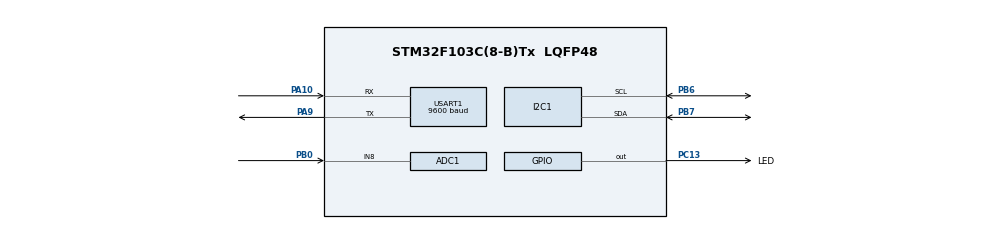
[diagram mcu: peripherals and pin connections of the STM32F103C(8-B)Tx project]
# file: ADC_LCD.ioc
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ADC1.Channel-0\#ChannelRegularConversion=ADC_CHANNEL_8
ADC1.NbrOfConversionFlag=1
ADC1.Rank-0\#ChannelRegularConversion=1
ADC1.SamplingTime-0\#ChannelRegularConversion=ADC_SAMPLETIME_1CYCLE_5
ADC1.master=1
Mcu.Family=STM32F1
Mcu.Name=STM32F103C(8-B)Tx
Mcu.Package=LQFP48
NVIC.PriorityGroup=NVIC_PRIORITYGROUP_4
PA10.Mode=Asynchronous
PA10.Signal=USART1_RX
PA9.Mode=Asynchronous
PA9.Signal=USART1_TX
PB0.Signal=ADCx_IN8
PB6.Mode=I2C
PB6.Signal=I2C1_SCL
PB7.Mode=I2C
PB7.Signal=I2C1_SDA
PC13-TAMPER-RTC.GPIO_Label=LED
PC13-TAMPER-RTC.Signal=GPIO_Output
PD0-OSC_IN.Mode=HSE-External-Oscillator
PD0-OSC_IN.Signal=RCC_OSC_IN
PD1-OSC_OUT.Mode=HSE-External-Oscillator
PD1-OSC_OUT.Signal=RCC_OSC_OUT
ProjectManager.HeapSize=0x200
ProjectManager.StackSize=0x400
ProjectManager.TargetToolchain=STM32CubeIDE
RCC.APB1Freq_Value=8000000
RCC.APB2Freq_Value=8000000
RCC.SYSCLKSource=RCC_SYSCLKSOURCE_HSE
SH.ADCx_IN8.0=ADC1_IN8,IN8
USART1.BaudRate=9600
USART1.VirtualMode=VM_ASYNC
board=custom

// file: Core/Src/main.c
/* USER CODE BEGIN Header */
/**
  ******************************************************************************
  * @file           : main.c
  * @brief          : Main program body
  ******************************************************************************
  * @attention
  *
  * Copyright (c) 2022 STMicroelectronics.
  * All rights reserved.
  *
  * This software is licensed under terms that can be found in the LICENSE file
  * in the root directory of this software component.
  * If no LICENSE file comes with this software, it is provided AS-IS.
  *
  ******************************************************************************
  */
/* USER CODE END Header */
#include "main.h"

/* USER CODE BEGIN Includes */
#include <stdio.h>
/* USER CODE END Includes */

ADC_HandleTypeDef hadc1;

I2C_HandleTypeDef hi2c1;

UART_HandleTypeDef huart1;

/* USER CODE BEGIN PV */

float data=0;
char tx_buffer[10]={" "};
void ReadADC()
{
	HAL_ADC_Start(&hadc1);
	if(HAL_ADC_PollForConversion(&hadc1, HAL_TIMEOUT) == HAL_OK)
	{
		data = HAL_ADC_GetValue(&hadc1);
	}
	HAL_ADC_Stop(&hadc1);
}
void FindI2CAddress()
{
	int i = 0;
	for(i; i<255; i++)
	{
		if(HAL_I2C_IsDeviceReady(&hi2c1, i, 1, 100) == HAL_OK){
			HAL_UART_Transmit(&huart1, (uint8_t *)tx_buffer, sprintf(tx_buffer, "%d   ",i), 10);
			break;
		}
	}
}

/* USER CODE END PV */

void SystemClock_Config(void);
static void MX_GPIO_Init(void);
static void MX_ADC1_Init(void);
static void MX_USART1_UART_Init(void);
static void MX_I2C1_Init(void);

int main(void)
{

  /* MCU Configuration--------------------------------------------------------*/

  /* Reset of all peripherals, Initializes the Flash interface and the Systick. */
  HAL_Init();

  /* Configure the system clock */
  SystemClock_Config();

  /* Initialize all configured peripherals */
  MX_GPIO_Init();
  MX_ADC1_Init();
  MX_USART1_UART_Init();
  MX_I2C1_Init();
  /* USER CODE BEGIN 2 */

	FindI2CAddress();

  /* USER CODE END 2 */

  /* Infinite loop */
  while (1)
  {

    /* USER CODE BEGIN 3 */
	//ReadADC();
	//data = 3.3 * data/4096;
	//sprintf(tx_buffer, "%.2f ",data);
	//HAL_UART_Transmit(&huart1, (uint8_t *)tx_buffer, sizeof(tx_buffer), HAL_TIMEOUT);
	//HAL_Delay(1000);

  }
  /* USER CODE END 3 */
}

void SystemClock_Config(void)
{
  RCC_OscInitTypeDef RCC_OscInitStruct = {0};
  RCC_ClkInitTypeDef RCC_ClkInitStruct = {0};
  RCC_PeriphCLKInitTypeDef PeriphClkInit = {0};

  /** Initializes the RCC Oscillators according to the specified parameters
  * in the RCC_OscInitTypeDef structure.
  */
  RCC_OscInitStruct.OscillatorType = RCC_OSCILLATORTYPE_HSE;
  RCC_OscInitStruct.HSEState = RCC_HSE_ON;
  RCC_OscInitStruct.PLL.PLLState = RCC_PLL_NONE;
  if (HAL_RCC_OscConfig(&RCC_OscInitStruct) != HAL_OK)
  {
    Error_Handler();
  }

  /** Initializes the CPU, AHB and APB buses clocks
  */
  RCC_ClkInitStruct.ClockType = RCC_CLOCKTYPE_HCLK|RCC_CLOCKTYPE_SYSCLK
                              |RCC_CLOCKTYPE_PCLK1|RCC_CLOCKTYPE_PCLK2;
  RCC_ClkInitStruct.SYSCLKSource = RCC_SYSCLKSOURCE_HSE;
  RCC_ClkInitStruct.AHBCLKDivider = RCC_SYSCLK_DIV1;
  RCC_ClkInitStruct.APB1CLKDivider = RCC_HCLK_DIV1;
  RCC_ClkInitStruct.APB2CLKDivider = RCC_HCLK_DIV1;

  if (HAL_RCC_ClockConfig(&RCC_ClkInitStruct, FLASH_LATENCY_0) != HAL_OK)
  {
    Error_Handler();
  }
  PeriphClkInit.PeriphClockSelection = RCC_PERIPHCLK_ADC;
  PeriphClkInit.AdcClockSelection = RCC_ADCPCLK2_DIV2;
  if (HAL_RCCEx_PeriphCLKConfig(&PeriphClkInit) != HAL_OK)
  {
    Error_Handler();
  }
}

static void MX_ADC1_Init(void)
{

  ADC_ChannelConfTypeDef sConfig = {0};

  /** Common config
  */
  hadc1.Instance = ADC1;
  hadc1.Init.ScanConvMode = ADC_SCAN_DISABLE;
  hadc1.Init.ContinuousConvMode = DISABLE;
  hadc1.Init.DiscontinuousConvMode = DISABLE;
  hadc1.Init.ExternalTrigConv = ADC_SOFTWARE_START;
  hadc1.Init.DataAlign = ADC_DATAALIGN_RIGHT;
  hadc1.Init.NbrOfConversion = 1;
  if (HAL_ADC_Init(&hadc1) != HAL_OK)
  {
    Error_Handler();
  }

  /** Configure Regular Channel
  */
  sConfig.Channel = ADC_CHANNEL_8;
  sConfig.Rank = ADC_REGULAR_RANK_1;
  sConfig.SamplingTime = ADC_SAMPLETIME_1CYCLE_5;
  if (HAL_ADC_ConfigChannel(&hadc1, &sConfig) != HAL_OK)
  {
    Error_Handler();
  }

}

static void MX_I2C1_Init(void)
{

  hi2c1.Instance = I2C1;
  hi2c1.Init.ClockSpeed = 100000;
  hi2c1.Init.DutyCycle = I2C_DUTYCYCLE_2;
  hi2c1.Init.OwnAddress1 = 0;
  hi2c1.Init.AddressingMode = I2C_ADDRESSINGMODE_7BIT;
  hi2c1.Init.DualAddressMode = I2C_DUALADDRESS_DISABLE;
  hi2c1.Init.OwnAddress2 = 0;
  hi2c1.Init.GeneralCallMode = I2C_GENERALCALL_DISABLE;
  hi2c1.Init.NoStretchMode = I2C_NOSTRETCH_DISABLE;
  if (HAL_I2C_Init(&hi2c1) != HAL_OK)
  {
    Error_Handler();
  }

}

static void MX_USART1_UART_Init(void)
{

  huart1.Instance = USART1;
  huart1.Init.BaudRate = 9600;
  huart1.Init.WordLength = UART_WORDLENGTH_8B;
  huart1.Init.StopBits = UART_STOPBITS_1;
  huart1.Init.Parity = UART_PARITY_NONE;
  huart1.Init.Mode = UART_MODE_TX_RX;
  huart1.Init.HwFlowCtl = UART_HWCONTROL_NONE;
  huart1.Init.OverSampling = UART_OVERSAMPLING_16;
  if (HAL_UART_Init(&huart1) != HAL_OK)
  {
    Error_Handler();
  }

}

static void MX_GPIO_Init(void)
{
  GPIO_InitTypeDef GPIO_InitStruct = {0};

  /* GPIO Ports Clock Enable */
  __HAL_RCC_GPIOC_CLK_ENABLE();
  __HAL_RCC_GPIOD_CLK_ENABLE();
  __HAL_RCC_GPIOB_CLK_ENABLE();
  __HAL_RCC_GPIOA_CLK_ENABLE();

  /*Configure GPIO pin Output Level */
  HAL_GPIO_WritePin(LED_GPIO_Port, LED_Pin, GPIO_PIN_RESET);

  /*Configure GPIO pin : LED_Pin */
  GPIO_InitStruct.Pin = LED_Pin;
  GPIO_InitStruct.Mode = GPIO_MODE_OUTPUT_PP;
  GPIO_InitStruct.Pull = GPIO_NOPULL;
  GPIO_InitStruct.Speed = GPIO_SPEED_FREQ_LOW;
  HAL_GPIO_Init(LED_GPIO_Port, &GPIO_InitStruct);

}

void Error_Handler(void)
{
  __disable_irq();
  while (1)
  {
  }
}
